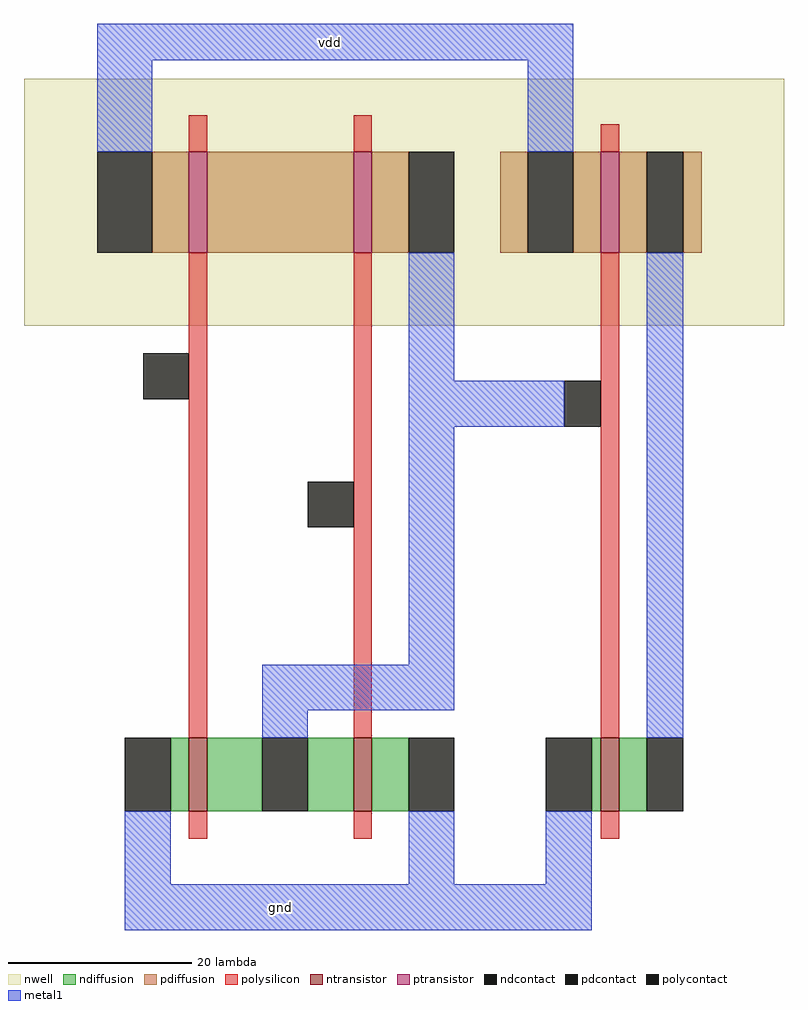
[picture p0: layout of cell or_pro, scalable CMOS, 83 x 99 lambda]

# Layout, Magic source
magic
tech scmos
<< nwell >>
rect -50 -13 33 14
<< ntransistor >>
rect -32 -66 -30 -58
rect -14 -66 -12 -58
rect 13 -66 15 -58
<< ptransistor >>
rect -32 -5 -30 6
rect -14 -5 -12 6
rect 13 -5 15 6
<< ndiffusion >>
rect -34 -66 -32 -58
rect -30 -66 -24 -58
rect -19 -66 -14 -58
rect -12 -66 -8 -58
rect 12 -66 13 -58
rect 15 -66 18 -58
<< pdiffusion >>
rect -36 -5 -32 6
rect -30 -5 -14 6
rect -12 -5 -8 6
rect 2 -5 5 6
rect 10 -5 13 6
rect 15 -5 18 6
rect 22 -5 24 6
<< ndcontact >>
rect -39 -66 -34 -58
rect -24 -66 -19 -58
rect -8 -66 -3 -58
rect 7 -66 12 -58
rect 18 -66 22 -58
<< pdcontact >>
rect -42 -5 -36 6
rect -8 -5 -3 6
rect 5 -5 10 6
rect 18 -5 22 6
<< polysilicon >>
rect -32 6 -30 10
rect -14 6 -12 10
rect 13 6 15 9
rect -32 -58 -30 -5
rect -14 -58 -12 -5
rect 13 -58 15 -5
rect -32 -69 -30 -66
rect -14 -69 -12 -66
rect 13 -69 15 -66
<< polycontact >>
rect -37 -21 -32 -16
rect -19 -35 -14 -30
rect 9 -24 13 -19
<< metal1 >>
rect -42 16 10 20
rect -42 6 -36 16
rect 5 6 10 16
rect -8 -19 -3 -5
rect -8 -24 9 -19
rect -8 -50 -3 -24
rect -24 -55 -3 -50
rect -24 -58 -19 -55
rect 18 -58 22 -5
rect -39 -74 -34 -66
rect -8 -74 -3 -66
rect 7 -74 12 -66
rect -39 -79 12 -74
<< labels >>
rlabel metal1 -22 16 -11 20 5 vdd
rlabel metal1 -25 -79 -19 -74 1 gnd
<< end >>
